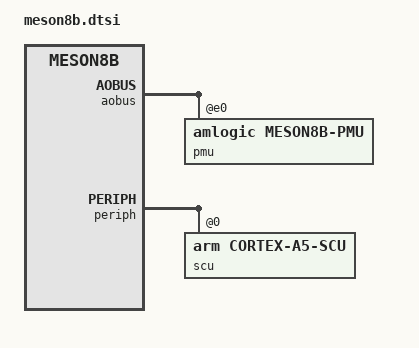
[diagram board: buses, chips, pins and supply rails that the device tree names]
// SPDX-License-Identifier: GPL-2.0 OR MIT
/*
 * Copyright 2015 Endless Mobile, Inc.
 * Author: Carlo Caione <carlo@endlessm.com>
 */

#include <dt-bindings/clock/meson8-ddr-clkc.h>
#include <dt-bindings/clock/meson8b-clkc.h>
#include <dt-bindings/gpio/meson8b-gpio.h>
#include <dt-bindings/power/meson8-power.h>
#include <dt-bindings/reset/amlogic,meson8b-reset.h>
#include <dt-bindings/reset/amlogic,meson8b-clkc-reset.h>
#include <dt-bindings/thermal/thermal.h>
#include "meson.dtsi"

/ {
	cpus {
		#address-cells = <1>;
		#size-cells = <0>;

		cpu0: cpu@200 {
			device_type = "cpu";
			compatible = "arm,cortex-a5";
			next-level-cache = <&L2>;
			reg = <0x200>;
			enable-method = "amlogic,meson8b-smp";
			resets = <&clkc CLKC_RESET_CPU0_SOFT_RESET>;
			operating-points-v2 = <&cpu_opp_table>;
			clocks = <&clkc CLKID_CPUCLK>;
			#cooling-cells = <2>; /* min followed by max */
		};

		cpu1: cpu@201 {
			device_type = "cpu";
			compatible = "arm,cortex-a5";
			next-level-cache = <&L2>;
			reg = <0x201>;
			enable-method = "amlogic,meson8b-smp";
			resets = <&clkc CLKC_RESET_CPU1_SOFT_RESET>;
			operating-points-v2 = <&cpu_opp_table>;
			clocks = <&clkc CLKID_CPUCLK>;
			#cooling-cells = <2>; /* min followed by max */
		};

		cpu2: cpu@202 {
			device_type = "cpu";
			compatible = "arm,cortex-a5";
			next-level-cache = <&L2>;
			reg = <0x202>;
			enable-method = "amlogic,meson8b-smp";
			resets = <&clkc CLKC_RESET_CPU2_SOFT_RESET>;
			operating-points-v2 = <&cpu_opp_table>;
			clocks = <&clkc CLKID_CPUCLK>;
			#cooling-cells = <2>; /* min followed by max */
		};

		cpu3: cpu@203 {
			device_type = "cpu";
			compatible = "arm,cortex-a5";
			next-level-cache = <&L2>;
			reg = <0x203>;
			enable-method = "amlogic,meson8b-smp";
			resets = <&clkc CLKC_RESET_CPU3_SOFT_RESET>;
			operating-points-v2 = <&cpu_opp_table>;
			clocks = <&clkc CLKID_CPUCLK>;
			#cooling-cells = <2>; /* min followed by max */
		};
	};

	cpu_opp_table: opp-table {
		compatible = "operating-points-v2";
		opp-shared;

		opp-96000000 {
			opp-hz = /bits/ 64 <96000000>;
			opp-microvolt = <860000>;
		};
		opp-192000000 {
			opp-hz = /bits/ 64 <192000000>;
			opp-microvolt = <860000>;
		};
		opp-312000000 {
			opp-hz = /bits/ 64 <312000000>;
			opp-microvolt = <860000>;
		};
		opp-408000000 {
			opp-hz = /bits/ 64 <408000000>;
			opp-microvolt = <860000>;
		};
		opp-504000000 {
			opp-hz = /bits/ 64 <504000000>;
			opp-microvolt = <860000>;
		};
		opp-600000000 {
			opp-hz = /bits/ 64 <600000000>;
			opp-microvolt = <860000>;
		};
		opp-720000000 {
			opp-hz = /bits/ 64 <720000000>;
			opp-microvolt = <860000>;
		};
		opp-816000000 {
			opp-hz = /bits/ 64 <816000000>;
			opp-microvolt = <900000>;
		};
		opp-1008000000 {
			opp-hz = /bits/ 64 <1008000000>;
			opp-microvolt = <1140000>;
		};
		opp-1200000000 {
			opp-hz = /bits/ 64 <1200000000>;
			opp-microvolt = <1140000>;
		};
		opp-1320000000 {
			opp-hz = /bits/ 64 <1320000000>;
			opp-microvolt = <1140000>;
		};
		opp-1488000000 {
			opp-hz = /bits/ 64 <1488000000>;
			opp-microvolt = <1140000>;
		};
		opp-1536000000 {
			opp-hz = /bits/ 64 <1536000000>;
			opp-microvolt = <1140000>;
		};
	};

	gpu_opp_table: gpu-opp-table {
		compatible = "operating-points-v2";

		opp-255000000 {
			opp-hz = /bits/ 64 <255000000>;
			opp-microvolt = <1100000>;
		};
		opp-364285714 {
			opp-hz = /bits/ 64 <364285714>;
			opp-microvolt = <1100000>;
		};
		opp-425000000 {
			opp-hz = /bits/ 64 <425000000>;
			opp-microvolt = <1100000>;
		};
		opp-510000000 {
			opp-hz = /bits/ 64 <510000000>;
			opp-microvolt = <1100000>;
		};
		opp-637500000 {
			opp-hz = /bits/ 64 <637500000>;
			opp-microvolt = <1100000>;
			turbo-mode;
		};
	};

	pmu {
		compatible = "arm,cortex-a5-pmu";
		interrupts = <GIC_SPI 137 IRQ_TYPE_LEVEL_HIGH>,
			     <GIC_SPI 138 IRQ_TYPE_LEVEL_HIGH>,
			     <GIC_SPI 153 IRQ_TYPE_LEVEL_HIGH>,
			     <GIC_SPI 154 IRQ_TYPE_LEVEL_HIGH>;
		interrupt-affinity = <&cpu0>, <&cpu1>, <&cpu2>, <&cpu3>;
	};

	reserved-memory {
		#address-cells = <1>;
		#size-cells = <1>;
		ranges;

		/* 2 MiB reserved for Hardware ROM Firmware? */
		hwrom@0 {
			reg = <0x0 0x200000>;
			no-map;
		};
	};

	thermal-zones {
		soc {
			polling-delay-passive = <250>; /* milliseconds */
			polling-delay = <1000>; /* milliseconds */
			thermal-sensors = <&thermal_sensor>;

			cooling-maps {
				map0 {
					trip = <&soc_passive>;
					cooling-device = <&cpu0 THERMAL_NO_LIMIT THERMAL_NO_LIMIT>,
							 <&cpu1 THERMAL_NO_LIMIT THERMAL_NO_LIMIT>,
							 <&cpu2 THERMAL_NO_LIMIT THERMAL_NO_LIMIT>,
							 <&cpu3 THERMAL_NO_LIMIT THERMAL_NO_LIMIT>,
							 <&mali THERMAL_NO_LIMIT THERMAL_NO_LIMIT>;
				};

				map1 {
					trip = <&soc_hot>;
					cooling-device = <&cpu0 THERMAL_NO_LIMIT THERMAL_NO_LIMIT>,
							 <&cpu1 THERMAL_NO_LIMIT THERMAL_NO_LIMIT>,
							 <&cpu2 THERMAL_NO_LIMIT THERMAL_NO_LIMIT>,
							 <&cpu3 THERMAL_NO_LIMIT THERMAL_NO_LIMIT>,
							 <&mali THERMAL_NO_LIMIT THERMAL_NO_LIMIT>;
				};
			};

			trips {
				soc_passive: soc-passive {
					temperature = <80000>; /* millicelsius */
					hysteresis = <2000>; /* millicelsius */
					type = "passive";
				};

				soc_hot: soc-hot {
					temperature = <90000>; /* millicelsius */
					hysteresis = <2000>; /* millicelsius */
					type = "hot";
				};

				soc_critical: soc-critical {
					temperature = <110000>; /* millicelsius */
					hysteresis = <2000>; /* millicelsius */
					type = "critical";
				};
			};
		};
	};

	mmcbus: bus@c8000000 {
		compatible = "simple-bus";
		reg = <0xc8000000 0x8000>;
		#address-cells = <1>;
		#size-cells = <1>;
		ranges = <0x0 0xc8000000 0x8000>;

		ddr_clkc: clock-controller@400 {
			compatible = "amlogic,meson8b-ddr-clkc";
			reg = <0x400 0x20>;
			clocks = <&xtal>;
			clock-names = "xtal";
			#clock-cells = <1>;
		};

		dmcbus: bus@6000 {
			compatible = "simple-bus";
			reg = <0x6000 0x400>;
			#address-cells = <1>;
			#size-cells = <1>;
			ranges = <0x0 0x6000 0x400>;

			canvas: video-lut@48 {
				compatible = "amlogic,meson8b-canvas",
					     "amlogic,canvas";
				reg = <0x48 0x14>;
			};
		};
	};

	apb: bus@d0000000 {
		compatible = "simple-bus";
		reg = <0xd0000000 0x200000>;
		#address-cells = <1>;
		#size-cells = <1>;
		ranges = <0x0 0xd0000000 0x200000>;

		mali: gpu@c0000 {
			compatible = "amlogic,meson8b-mali", "arm,mali-450";
			reg = <0xc0000 0x40000>;
			interrupts = <GIC_SPI 160 IRQ_TYPE_LEVEL_HIGH>,
				     <GIC_SPI 161 IRQ_TYPE_LEVEL_HIGH>,
				     <GIC_SPI 162 IRQ_TYPE_LEVEL_HIGH>,
				     <GIC_SPI 163 IRQ_TYPE_LEVEL_HIGH>,
				     <GIC_SPI 164 IRQ_TYPE_LEVEL_HIGH>,
				     <GIC_SPI 165 IRQ_TYPE_LEVEL_HIGH>,
				     <GIC_SPI 166 IRQ_TYPE_LEVEL_HIGH>,
				     <GIC_SPI 167 IRQ_TYPE_LEVEL_HIGH>;
			interrupt-names = "gp", "gpmmu", "pp", "pmu",
					  "pp0", "ppmmu0", "pp1", "ppmmu1";
			resets = <&reset RESET_MALI>;
			clocks = <&clkc CLKID_CLK81>, <&clkc CLKID_MALI>;
			clock-names = "bus", "core";
			operating-points-v2 = <&gpu_opp_table>;
			#cooling-cells = <2>; /* min followed by max */
		};
	};
}; /* end of / */

&aiu {
	compatible = "amlogic,aiu-meson8b", "amlogic,aiu";
	clocks = <&clkc CLKID_AIU_GLUE>,
		 <&clkc CLKID_I2S_OUT>,
		 <&clkc CLKID_AOCLK_GATE>,
		 <&clkc CLKID_CTS_AMCLK>,
		 <&clkc CLKID_MIXER_IFACE>,
		 <&clkc CLKID_IEC958>,
		 <&clkc CLKID_IEC958_GATE>,
		 <&clkc CLKID_CTS_MCLK_I958>,
		 <&clkc CLKID_CTS_I958>;
	clock-names = "pclk",
		      "i2s_pclk",
		      "i2s_aoclk",
		      "i2s_mclk",
		      "i2s_mixer",
		      "spdif_pclk",
		      "spdif_aoclk",
		      "spdif_mclk",
		      "spdif_mclk_sel";
	resets = <&reset RESET_AIU>;
};

&aobus {
	pmu: pmu@e0 {
		compatible = "amlogic,meson8b-pmu", "syscon";
		reg = <0xe0 0x18>;
	};

	pinctrl_aobus: pinctrl@84 {
		compatible = "amlogic,meson8b-aobus-pinctrl";
		reg = <0x84 0xc>;
		#address-cells = <1>;
		#size-cells = <1>;
		ranges;

		gpio_ao: ao-bank@14 {
			reg = <0x14 0x4>,
				<0x2c 0x4>,
				<0x24 0x8>;
			reg-names = "mux", "pull", "gpio";
			gpio-controller;
			#gpio-cells = <2>;
			gpio-ranges = <&pinctrl_aobus 0 0 16>;
		};

		i2s_am_clk_pins: i2s-am-clk-out {
			mux {
				groups = "i2s_am_clk_out";
				function = "i2s";
				bias-disable;
			};
		};

		i2s_out_ao_clk_pins: i2s-ao-clk-out {
			mux {
				groups = "i2s_ao_clk_out";
				function = "i2s";
				bias-disable;
			};
		};

		i2s_out_lr_clk_pins: i2s-lr-clk-out {
			mux {
				groups = "i2s_lr_clk_out";
				function = "i2s";
				bias-disable;
			};
		};

		i2s_out_ch01_ao_pins: i2s-out-ch01 {
			mux {
				groups = "i2s_out_01";
				function = "i2s";
				bias-disable;
			};
		};

		spdif_out_1_pins: spdif-out-1 {
			mux {
				groups = "spdif_out_1";
				function = "spdif_1";
				bias-disable;
			};
		};

		uart_ao_a_pins: uart_ao_a {
			mux {
				groups = "uart_tx_ao_a", "uart_rx_ao_a";
				function = "uart_ao";
				bias-disable;
			};
		};

		ir_recv_pins: remote {
			mux {
				groups = "remote_input";
				function = "remote";
				bias-disable;
			};
		};
	};
};

&ao_arc_rproc {
	compatible = "amlogic,meson8b-ao-arc", "amlogic,meson-mx-ao-arc";
	amlogic,secbus2 = <&secbus2>;
	sram = <&ao_arc_sram>;
	resets = <&reset RESET_MEDIA_CPU>;
	clocks = <&clkc CLKID_AO_MEDIA_CPU>;
};

&cbus {
	reset: reset-controller@4404 {
		compatible = "amlogic,meson8b-reset";
		reg = <0x4404 0x9c>;
		#reset-cells = <1>;
	};

	analog_top: analog-top@81a8 {
		compatible = "amlogic,meson8b-analog-top", "syscon";
		reg = <0x81a8 0x14>;
	};

	pwm_ef: pwm@86c0 {
		compatible = "amlogic,meson8b-pwm";
		reg = <0x86c0 0x10>;
		#pwm-cells = <3>;
		status = "disabled";
	};

	clock-measure@8758 {
		compatible = "amlogic,meson8b-clk-measure";
		reg = <0x8758 0x1c>;
	};

	pinctrl_cbus: pinctrl@9880 {
		compatible = "amlogic,meson8b-cbus-pinctrl";
		reg = <0x9880 0x10>;
		#address-cells = <1>;
		#size-cells = <1>;
		ranges;

		gpio: banks@80b0 {
			reg = <0x80b0 0x28>,
				<0x80e8 0x18>,
				<0x8120 0x18>,
				<0x8030 0x38>;
			reg-names = "mux", "pull", "pull-enable", "gpio";
			gpio-controller;
			#gpio-cells = <2>;
			gpio-ranges = <&pinctrl_cbus 0 0 83>;
		};

		eth_rgmii_pins: eth-rgmii {
			mux {
				groups = "eth_tx_clk",
					 "eth_tx_en",
					 "eth_txd1_0",
					 "eth_txd0_0",
					 "eth_rx_clk",
					 "eth_rx_dv",
					 "eth_rxd1",
					 "eth_rxd0",
					 "eth_mdio_en",
					 "eth_mdc",
					 "eth_ref_clk",
					 "eth_txd2",
					 "eth_txd3",
					 "eth_rxd3",
					 "eth_rxd2";
				function = "ethernet";
				bias-disable;
			};
		};

		eth_rmii_pins: eth-rmii {
			mux {
				groups = "eth_tx_en",
					 "eth_txd1_0",
					 "eth_txd0_0",
					 "eth_rx_clk",
					 "eth_rx_dv",
					 "eth_rxd1",
					 "eth_rxd0",
					 "eth_mdio_en",
					 "eth_mdc";
				function = "ethernet";
				bias-disable;
			};
		};

		i2c_a_pins: i2c-a {
			mux {
				groups = "i2c_sda_a", "i2c_sck_a";
				function = "i2c_a";
				bias-disable;
			};
		};

		sd_b_pins: sd-b {
			mux {
				groups = "sd_d0_b", "sd_d1_b", "sd_d2_b",
					"sd_d3_b", "sd_clk_b", "sd_cmd_b";
				function = "sd_b";
				bias-disable;
			};
		};

		sdxc_c_pins: sdxc-c {
			mux {
				groups = "sdxc_d0_c", "sdxc_d13_c",
					 "sdxc_d47_c", "sdxc_clk_c",
					 "sdxc_cmd_c";
				function = "sdxc_c";
				bias-pull-up;
			};
		};

		pwm_c1_pins: pwm-c1 {
			mux {
				groups = "pwm_c1";
				function = "pwm_c";
				bias-disable;
			};
		};

		pwm_d_pins: pwm-d {
			mux {
				groups = "pwm_d";
				function = "pwm_d";
				bias-disable;
			};
		};

		uart_b0_pins: uart-b0 {
			mux {
				groups = "uart_tx_b0",
				       "uart_rx_b0";
				function = "uart_b";
				bias-disable;
			};
		};

		uart_b0_cts_rts_pins: uart-b0-cts-rts {
			mux {
				groups = "uart_cts_b0",
				       "uart_rts_b0";
				function = "uart_b";
				bias-disable;
			};
		};
	};
};

&ahb_sram {
	ao_arc_sram: ao-arc-sram@0 {
		compatible = "amlogic,meson8b-ao-arc-sram";
		reg = <0x0 0x8000>;
		pool;
	};

	smp-sram@1ff80 {
		compatible = "amlogic,meson8b-smp-sram";
		reg = <0x1ff80 0x8>;
	};
};


&efuse {
	compatible = "amlogic,meson8b-efuse";
	clocks = <&clkc CLKID_EFUSE>;
	clock-names = "core";

	temperature_calib: calib@1f4 {
		/* only the upper two bytes are relevant */
		reg = <0x1f4 0x4>;
	};
};

&ethmac {
	compatible = "amlogic,meson8b-dwmac", "snps,dwmac-3.70a", "snps,dwmac";

	reg = <0xc9410000 0x10000
	       0xc1108140 0x4>;

	clocks = <&clkc CLKID_ETH>,
		 <&clkc CLKID_MPLL2>,
		 <&clkc CLKID_MPLL2>,
		 <&clkc CLKID_FCLK_DIV2>;
	clock-names = "stmmaceth", "clkin0", "clkin1", "timing-adjustment";
	rx-fifo-depth = <4096>;
	tx-fifo-depth = <2048>;

	resets = <&reset RESET_ETHERNET>;
	reset-names = "stmmaceth";

	power-domains = <&pwrc PWRC_MESON8_ETHERNET_MEM_ID>;
};

&gpio_intc {
	compatible = "amlogic,meson-gpio-intc",
		     "amlogic,meson8b-gpio-intc";
	status = "okay";
};

&hhi {
	clkc: clock-controller {
		compatible = "amlogic,meson8b-clkc";
		clocks = <&xtal>, <&ddr_clkc DDR_CLKID_DDR_PLL>;
		clock-names = "xtal", "ddr_pll";
		#clock-cells = <1>;
		#reset-cells = <1>;
	};

	pwrc: power-controller {
		compatible = "amlogic,meson8b-pwrc";
		#power-domain-cells = <1>;
		amlogic,ao-sysctrl = <&pmu>;
		resets = <&reset RESET_DBLK>,
			 <&reset RESET_PIC_DC>,
			 <&reset RESET_HDMI_APB>,
			 <&reset RESET_HDMI_SYSTEM_RESET>,
			 <&reset RESET_VENCI>,
			 <&reset RESET_VENCP>,
			 <&reset RESET_VDAC_4>,
			 <&reset RESET_VENCL>,
			 <&reset RESET_VIU>,
			 <&reset RESET_VENC>,
			 <&reset RESET_RDMA>;
		reset-names = "dblk", "pic_dc", "hdmi_apb", "hdmi_system",
			      "venci", "vencp", "vdac", "vencl", "viu",
			      "venc", "rdma";
		clocks = <&clkc CLKID_VPU>;
		clock-names = "vpu";
		assigned-clocks = <&clkc CLKID_VPU>;
		assigned-clock-rates = <182142857>;
	};
};

&hwrng {
	compatible = "amlogic,meson8b-rng", "amlogic,meson-rng";
	clocks = <&clkc CLKID_RNG0>;
	clock-names = "core";
};

&i2c_AO {
	clocks = <&clkc CLKID_CLK81>;
};

&i2c_A {
	clocks = <&clkc CLKID_I2C>;
};

&i2c_B {
	clocks = <&clkc CLKID_I2C>;
};

&L2 {
	arm,data-latency = <3 3 3>;
	arm,tag-latency = <2 2 2>;
	arm,filter-ranges = <0x100000 0xc0000000>;
	prefetch-data = <1>;
	prefetch-instr = <1>;
	arm,shared-override;
};

&periph {
	scu@0 {
		compatible = "arm,cortex-a5-scu";
		reg = <0x0 0x100>;
	};

	timer@200 {
		compatible = "arm,cortex-a5-global-timer";
		reg = <0x200 0x20>;
		interrupts = <GIC_PPI 11 (GIC_CPU_MASK_SIMPLE(4) | IRQ_TYPE_EDGE_RISING)>;
		clocks = <&clkc CLKID_PERIPH>;

		/*
		 * the arm_global_timer driver currently does not handle clock
		 * rate changes. Keep it disabled for now.
		 */
		status = "disabled";
	};

	timer@600 {
		compatible = "arm,cortex-a5-twd-timer";
		reg = <0x600 0x20>;
		interrupts = <GIC_PPI 13 (GIC_CPU_MASK_SIMPLE(4) | IRQ_TYPE_EDGE_RISING)>;
		clocks = <&clkc CLKID_PERIPH>;
	};
};

&pwm_ab {
	compatible = "amlogic,meson8b-pwm";
};

&pwm_cd {
	compatible = "amlogic,meson8b-pwm";
};

&rtc {
	compatible = "amlogic,meson8b-rtc";
	resets = <&reset RESET_RTC>;
};

&saradc {
	compatible = "amlogic,meson8b-saradc", "amlogic,meson-saradc";
	clocks = <&xtal>, <&clkc CLKID_SAR_ADC>;
	clock-names = "clkin", "core";
	amlogic,hhi-sysctrl = <&hhi>;
	nvmem-cells = <&temperature_calib>;
	nvmem-cell-names = "temperature_calib";
};

&sdhc {
	compatible = "amlogic,meson8-sdhc", "amlogic,meson-mx-sdhc";
	clocks = <&xtal>,
		 <&clkc CLKID_FCLK_DIV4>,
		 <&clkc CLKID_FCLK_DIV3>,
		 <&clkc CLKID_FCLK_DIV5>,
		 <&clkc CLKID_SDHC>;
	clock-names = "clkin0", "clkin1", "clkin2", "clkin3", "pclk";
};

&secbus {
	secbus2: system-controller@4000 {
		compatible = "amlogic,meson8b-secbus2", "syscon";
		reg = <0x4000 0x2000>;
	};
};

&sdio {
	compatible = "amlogic,meson8b-sdio", "amlogic,meson-mx-sdio";
	clocks = <&clkc CLKID_SDIO>, <&clkc CLKID_CLK81>;
	clock-names = "core", "clkin";
};

&timer_abcde {
	clocks = <&xtal>, <&clkc CLKID_CLK81>;
	clock-names = "xtal", "pclk";
};

&uart_AO {
	compatible = "amlogic,meson8b-uart", "amlogic,meson-ao-uart";
	clocks = <&xtal>, <&clkc CLKID_CLK81>, <&clkc CLKID_CLK81>;
	clock-names = "xtal", "pclk", "baud";
};

&uart_A {
	compatible = "amlogic,meson8b-uart";
	clocks = <&xtal>, <&clkc CLKID_UART0>, <&clkc CLKID_CLK81>;
	clock-names = "xtal", "pclk", "baud";
};

&uart_B {
	compatible = "amlogic,meson8b-uart";
	clocks = <&xtal>, <&clkc CLKID_UART1>, <&clkc CLKID_CLK81>;
	clock-names = "xtal", "pclk", "baud";
};

&uart_C {
	compatible = "amlogic,meson8b-uart";
	clocks = <&xtal>, <&clkc CLKID_UART2>, <&clkc CLKID_CLK81>;
	clock-names = "xtal", "pclk", "baud";
};

&usb0 {
	compatible = "amlogic,meson8b-usb", "snps,dwc2";
	clocks = <&clkc CLKID_USB0_DDR_BRIDGE>;
	clock-names = "otg";
};

&usb1 {
	compatible = "amlogic,meson8b-usb", "snps,dwc2";
	clocks = <&clkc CLKID_USB1_DDR_BRIDGE>;
	clock-names = "otg";
};

&usb0_phy {
	compatible = "amlogic,meson8b-usb2-phy", "amlogic,meson-mx-usb2-phy";
	clocks = <&clkc CLKID_USB>, <&clkc CLKID_USB0>;
	clock-names = "usb_general", "usb";
	resets = <&reset RESET_USB_OTG>;
};

&usb1_phy {
	compatible = "amlogic,meson8b-usb2-phy", "amlogic,meson-mx-usb2-phy";
	clocks = <&clkc CLKID_USB>, <&clkc CLKID_USB1>;
	clock-names = "usb_general", "usb";
	resets = <&reset RESET_USB_OTG>;
};

&wdt {
	compatible = "amlogic,meson8b-wdt";
};
